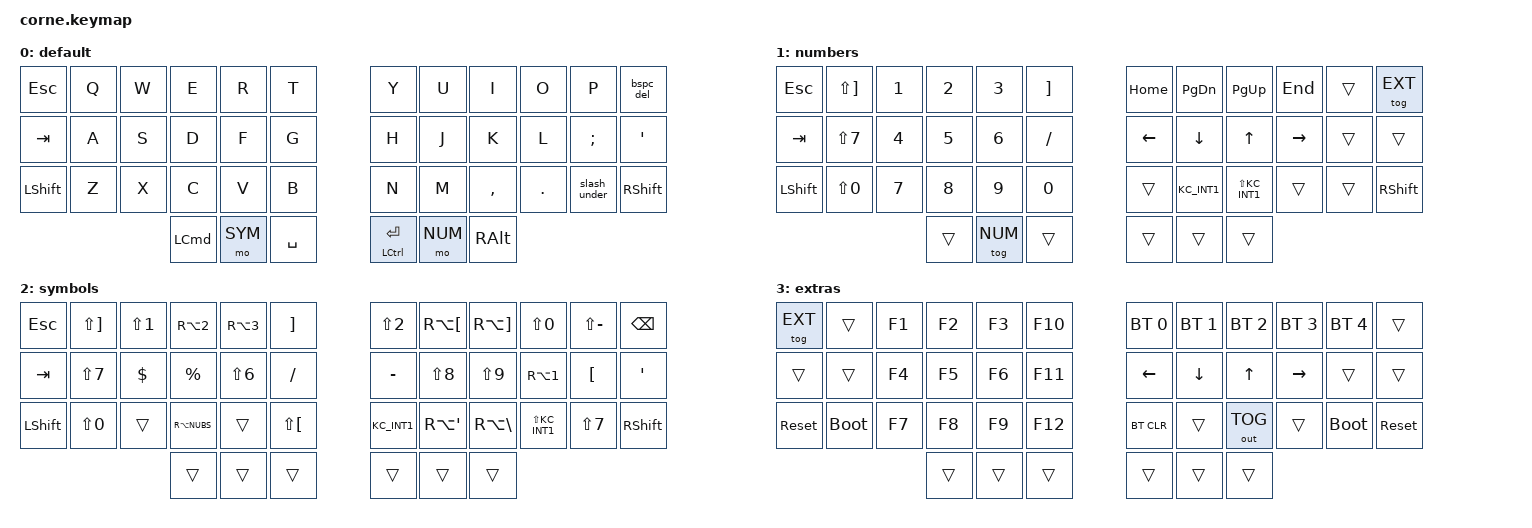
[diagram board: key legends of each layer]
/*
 * Copyright (c) 2020 The ZMK Contributors
 *
 * SPDX-License-Identifier: MIT
 */

#include <behaviors.dtsi>
#include <dt-bindings/zmk/keys.h>
#include <dt-bindings/zmk/bt.h>
#include <dt-bindings/zmk/outputs.h>

#include "keymap_spanish.h"
#include "keypos.h"
#define HOST_OS 2
#include "helpers.h"
#include "spanish.dtsi"

#define ______ &trans

// layers
#define DEF 0
#define NUM 1
#define SYM 2
#define EXT 3

// Spanish definitions
#define ES_EGNE   &kp SEMICOLON // Ñ ;
#define US_EGNE   &kp 0x0064

ZMK_BEHAVIOR(bspc_del, mod_morph,
    bindings = <&kp BACKSPACE>, <&kp DELETE>;
    mods = <(MOD_LSFT|MOD_RSFT)>;
    keep-mods = <(MOD_RSFT)>;
)

ZMK_BEHAVIOR(dot_gt, mod_morph,
    bindings = <&kp DOT>, <&kp GT>;
    mods = <(MOD_LSFT|MOD_RSFT)>;
    keep-mods = <(MOD_RSFT)>;
)

/ {
    combos {
        compatible = "zmk,combos";
        combo_caps {
            timeout-ms = <300>;
            key-positions = <24 35>;
            bindings = <&kp CAPS>;
        };
    };
};

ZMK_BEHAVIOR(slash_under, mod_morph,
    bindings = <&kp LS(N7)>, <&kp LS(SLASH)>;
    mods = <(MOD_LSFT|MOD_RSFT)>;
    keep-mods = <(MOD_RSFT)>;
)

ZMK_LAYER(default,
    // ╭─────────────┬─────────────┬─────────────┬─────────────┬─────────────┬─────────────╮   ╭─────────────┬─────────────┬─────────────┬─────────────┬─────────────┬─────────────╮
           &kp ESC        &kp Q         &kp W         &kp E         &kp R         &kp T             &kp Y         &kp U         &kp I          &kp O        &kp P       &bspc_del
    // ├─────────────┼─────────────┼─────────────┼─────────────┼─────────────┼─────────────┤   ├─────────────┼─────────────┼─────────────┼─────────────┼─────────────┼─────────────┤
           &kp TAB        &kp A         &kp S         &kp D         &kp F         &kp G             &kp H         &kp J         &kp K          &kp L       ES_EGNE       &kp APOS
    // ├─────────────┼─────────────┼─────────────┼─────────────┼─────────────┼─────────────┤   ├─────────────┼─────────────┼─────────────┼─────────────┼─────────────┼─────────────┤
          &kp LSHFT       &kp Z         &kp X         &kp C         &kp V         &kp B             &kp N         &kp M       &kp COMMA       &kp DOT    &slash_under   &kp RSHFT
    // ╰─────────────┴─────────────┴─────────────┼─────────────┼─────────────┼─────────────┤   ├─────────────┼─────────────┼─────────────┼─────────────┴─────────────┴─────────────╯
                                                    &kp LCMD       &mo SYM       &kp SPC        &mt LCTRL RET    &mo NUM       &kp RALT
    //                                           ╰─────────────┴─────────────┴─────────────╯   ╰─────────────┴─────────────┴─────────────╯
)

ZMK_LAYER(numbers,
    // ╭─────────────┬─────────────┬─────────────┬─────────────┬─────────────┬─────────────╮   ╭─────────────┬─────────────┬─────────────┬─────────────┬─────────────┬─────────────╮
           &kp ESC     &kp LS(RBKT)    &kp N1        &kp N2        &kp N3       &kp RBKT           &kp HOME     &kp PG_DN     &kp PG_UP      &kp END       ______       &tog EXT
    // ├─────────────┼─────────────┼─────────────┼─────────────┼─────────────┼─────────────┤   ├─────────────┼─────────────┼─────────────┼─────────────┼─────────────┼─────────────┤
           &kp TAB      &kp LS(N7)     &kp N4        &kp N5        &kp N6       &kp SLASH          &kp LEFT     &kp DOWN       &kp UP       &kp RIGHT      ______        ______
    // ├─────────────┼─────────────┼─────────────┼─────────────┼─────────────┼─────────────┤   ├─────────────┼─────────────┼─────────────┼─────────────┼─────────────┼─────────────┤
          &kp LSHFT     &kp LS(N0)     &kp N7        &kp N8        &kp N9        &kp N0            ______      &kp KC_INT1 &kp LS(KC_INT1)   ______        ______       &kp RSHFT
    // ╰─────────────┴─────────────┴─────────────┼─────────────┼─────────────┼─────────────┤   ├─────────────┼─────────────┼─────────────┼─────────────┴─────────────┴─────────────╯
                                                     ______       &tog NUM       ______            ______        ______        ______
    //                                           ╰─────────────┴─────────────┴─────────────╯   ╰─────────────┴─────────────┴─────────────╯
)

ZMK_LAYER(symbols,
    // ╭─────────────┬─────────────┬─────────────┬─────────────┬─────────────┬─────────────╮   ╭─────────────┬─────────────┬─────────────┬─────────────┬─────────────┬─────────────╮
           &kp ESC     &kp LS(RBKT)   &kp LS(N1)    &kp RA(N2)    &kp RA(N3)    &kp RBKT          &kp LS(N2)   &kp RA(LBKT)  &kp RA(RBKT)   &kp LS(N0)  &kp LS(MINUS)   &kp BSPC
    // ├─────────────┼─────────────┼─────────────┼─────────────┼─────────────┼─────────────┤   ├─────────────┼─────────────┼─────────────┼─────────────┼─────────────┼─────────────┤
           &kp TAB      &kp LS(N7)    &kp DOLLAR   &kp PERCENT    &kp LS(N6)    &kp SLASH         &kp MINUS     &kp LS(N8)    &kp LS(N9)    &kp RA(N1)    &kp LBKT      &kp APOS
    // ├─────────────┼─────────────┼─────────────┼─────────────┼─────────────┼─────────────┤   ├─────────────┼─────────────┼─────────────┼─────────────┼─────────────┼─────────────┤
          &kp LSHFT     &kp LS(N0)      ______     &kp RA(NUBS)    ______      &kp LS(LBKT)      &kp KC_INT1 &kp RA(APOS) &kp RA(BACKSLASH) &kp LS(KC_INT1) &kp LS(N7)  &kp RSHFT
    // ╰─────────────┴─────────────┴─────────────┼─────────────┼─────────────┼─────────────┤   ├─────────────┼─────────────┼─────────────┼─────────────┴─────────────┴─────────────╯
                                                     ______        ______        ______            ______        ______        ______
    //                                           ╰─────────────┴─────────────┴─────────────╯   ╰─────────────┴─────────────┴─────────────╯
)

ZMK_LAYER(extras,
    // ╭─────────────┬─────────────┬─────────────┬─────────────┬─────────────┬─────────────╮   ╭─────────────┬─────────────┬─────────────┬─────────────┬─────────────┬─────────────╮
          &tog EXT       ______        &kp F1        &kp F2        &kp F3        &kp F10         &bt BT_SEL 0  &bt BT_SEL 1  &bt BT_SEL 2  &bt BT_SEL 3  &bt BT_SEL 4    ______
    // ├─────────────┼─────────────┼─────────────┼─────────────┼─────────────┼─────────────┤   ├─────────────┼─────────────┼─────────────┼─────────────┼─────────────┼─────────────┤
           ______        ______        &kp F4        &kp F5        &kp F6        &kp F11           &kp LEFT     &kp DOWN       &kp UP       &kp RIGHT      ______        ______
    // ├─────────────┼─────────────┼─────────────┼─────────────┼─────────────┼─────────────┤   ├─────────────┼─────────────┼─────────────┼─────────────┼─────────────┼─────────────┤
         &sys_reset    &bootloader     &kp F7        &kp F8        &kp F9        &kp F12          &bt BT_CLR     ______      &out OUT_TOG    ______      &bootloader   &sys_reset
    // ╰─────────────┴─────────────┴─────────────┼─────────────┼─────────────┼─────────────┤   ├─────────────┼─────────────┼─────────────┼─────────────┴─────────────┴─────────────╯
                                                     ______        ______        ______            ______        ______        ______
    //                                           ╰─────────────┴─────────────┴─────────────╯   ╰─────────────┴─────────────┴─────────────╯
)
